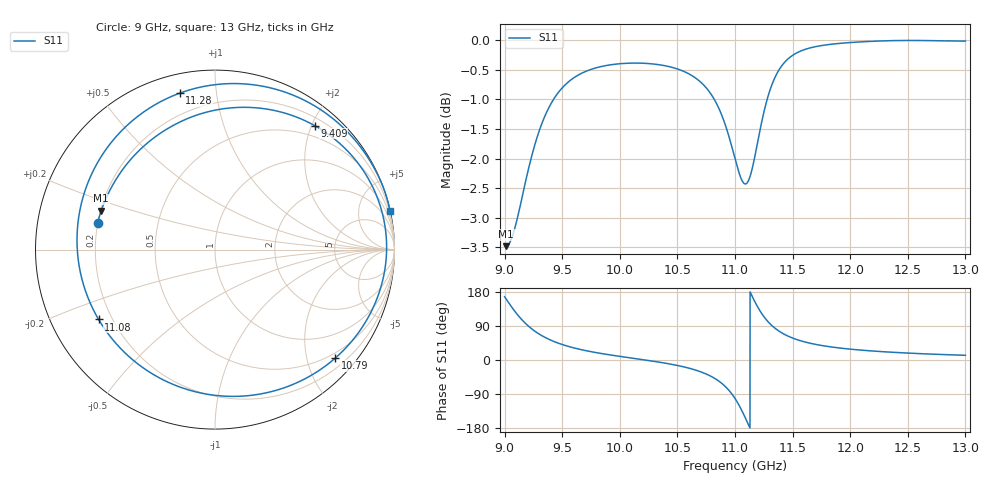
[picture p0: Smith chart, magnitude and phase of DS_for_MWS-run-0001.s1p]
! TOUCHSTONE file generated by CST DESIGN STUDIO
! Date and time: Tue Feb  4 13:04:37 2025
! Project name: C:\Work\MatlabApps\UnitCellOptimizationMatlab\CST\unitcell.cst
! Tree item: Tasks\Sweep1\SPara1\S-Parameters
! Header version: 2024
! Port assignment regex: !\s*Touchstone port\s*([0-9]+)\s*=\s*(CST MWS port|CST DES external port|CST DES block port)\s*(.+)\s* \(\"(.*)\"\)(\s*mode\s*([0-9]+))?.*
! Touchstone port assignment:
! Touchstone port 1 = CST DES external port 1 ("")
# GHz S MA R 50
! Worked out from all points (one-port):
!   4001 points, 9 GHz to 13 GHz, reference 50 ohm
!   lowest |S11| = -3.5 dB at 9.013 GHz (marker M1), VSWR 5.06, Z = 10.1 + j8 ohm
!   |S11| at or under -10 dB: nowhere
!   S11 on the Smith chart (normalised r, x): 9 GHz: 0.20, +0.11; 9.409 GHz: 0.32, +2.04; 10.79 GHz: 0.39, -2.55; 11.08 GHz: 0.15, -0.27; 11.28 GHz: 0.09, +0.80; 13 GHz: 0.06, +9.17
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9  0.6707 167.0
9.013  0.6699 161.1
9.1  0.7006 124.0
9.182  0.7599 96.4
9.276  0.8245 73.2
9.409  0.8862 51.3
9.5  0.9116 40.8
9.708  0.9416 24.5
10  0.9555 9.5
10.5  0.9458 -14.4
10.664  0.9283 -27.2
10.785  0.9025 -42.0
10.898  0.8579 -64.9
10.955  0.8244 -82.8
11  0.7943 -101.5
11.042  0.7691 -123.3
11.084  0.7563 -149.0
11.125  0.7644 -176.2
11.165  0.7914 158.2
11.223  0.845 126.7
11.282  0.8935 102.7
11.328  0.9213 88.7
11.385  0.9451 75.6
11.5  0.9712 57.9
11.697  0.9877 41.3
12  0.9957 28.6
12.5  0.9997 18.2
13  0.9985 12.4
